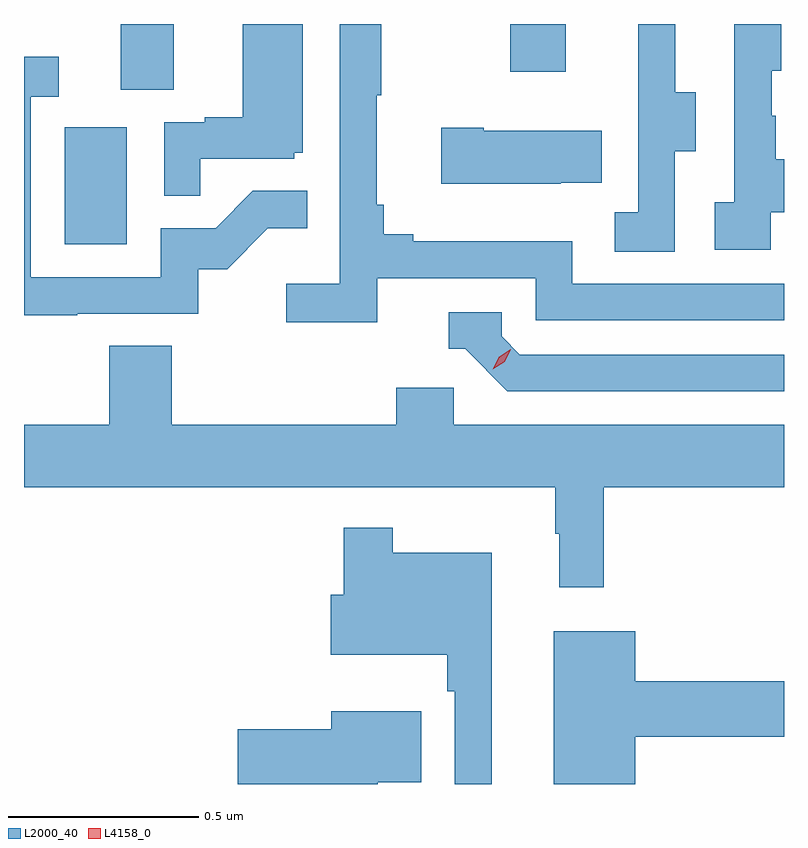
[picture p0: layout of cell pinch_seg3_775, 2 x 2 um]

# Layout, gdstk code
import gdstk
lib = gdstk.Library(unit=1e-6, precision=1e-09)
def R(c, l, rs):  # rectangles x0, y0, x1, y1
    for r in rs: c.add(gdstk.rectangle(r[:2], r[2:], *l))
def P(c, l, *ps):  # polygons
    for p in ps: c.add(gdstk.Polygon(p, *l))
L2000_40 = (2000, 40)
L4158_0 = (4158, 0)

pinch_seg3_775 = lib.new_cell('pinch_seg3_775')
R(pinch_seg3_775, L2000_40, [(830.432,738.852,830.596,739.159), (830.579,739.258,830.719,739.431), (831.604,739.305,831.751,739.431)])
P(pinch_seg3_775, L2000_40, [(832.29,738.935),(832.325,738.935),(832.325,739.075),(832.303,739.075),(832.303,739.19),(832.293,739.19),(832.293,739.308),(832.318,739.308),(832.318,739.431),(832.194,739.431),(832.194,738.962),(832.143,738.962),(832.143,738.837),(832.29,738.837)],
  [(832.038,739.096),(832.093,739.096),(832.093,739.251),(832.039,739.251),(832.039,739.431),(831.941,739.431),(831.941,739.239),(831.942,739.239),(831.942,738.935),(831.879,738.935),(831.879,738.832),(832.038,738.832)],
  [(830.789,739.077),(831.036,739.077),(831.036,739.092),(831.058,739.092),(831.058,739.431),(830.9,739.431),(830.9,739.186),(830.801,739.186),(830.801,739.173),(830.694,739.173),(830.694,738.979),(830.789,738.979)],
  [(831.254,738.762),(831.672,738.762),(831.672,738.651),(832.325,738.651),(832.325,738.747),(831.768,738.747),(831.768,738.859),(831.349,738.859),(831.349,738.878),(831.272,738.878),(831.272,738.955),(831.253,738.955),(831.253,739.243),(831.265,739.243),(831.265,739.431),(831.156,739.431),(831.156,738.748),(831.015,738.748),(831.015,738.646),(831.254,738.646)],
  [(830.465,738.669),(830.784,738.669),(830.784,738.786),(830.86,738.786),(830.967,738.893),(831.071,738.893),(831.071,738.992),(830.927,738.992),(830.829,738.894),(830.685,738.894),(830.685,738.765),(830.343,738.765),(830.343,739.239),(830.416,739.239),(830.416,739.345),(830.325,739.345),(830.325,738.664),(830.465,738.664)],
  [(831.737,739.013),(831.845,739.013),(831.845,739.15),(831.535,739.15),(831.535,739.158),(831.423,739.158),(831.423,739.01),(831.737,739.01)],
  [(832.325,738.561),(831.63,738.561),(831.582,738.609),(831.582,738.672),(831.443,738.672),(831.443,738.576),(831.486,738.576),(831.597,738.465),(832.325,738.465)],
  [(831.851,738.212),(832.325,738.212),(832.325,738.376),(831.456,738.376),(831.456,738.474),(831.305,738.474),(831.305,738.376),(830.714,738.376),(830.714,738.584),(830.549,738.584),(830.549,738.376),(830.325,738.376),(830.325,738.212),(831.723,738.212),(831.723,738.089),(831.734,738.089),(831.734,737.949),(831.851,737.949)],
  [(831.556,738.04),(831.295,738.04),(831.295,738.106),(831.166,738.106),(831.166,737.929),(831.132,737.929),(831.132,737.771),(831.439,737.771),(831.439,737.675),(831.459,737.675),(831.459,737.431),(831.556,737.431)],
  [(831.934,737.555),(832.325,737.555),(832.325,737.702),(831.934,737.702),(831.934,737.833),(831.719,737.833),(831.719,737.431),(831.934,737.431)],
  [(831.256,737.435),(831.37,737.435),(831.37,737.623),(831.134,737.623),(831.134,737.575),(830.888,737.575),(830.888,737.431),(831.256,737.431)])
P(pinch_seg3_775, L4158_0, [(831.559,738.522),(831.559,738.523),(831.575,738.555),(831.606,738.575),(831.606,738.575),(831.606,738.575),(831.59,738.542),(831.559,738.522)])

lib.write_gds('pinch_seg3_775.gds')
